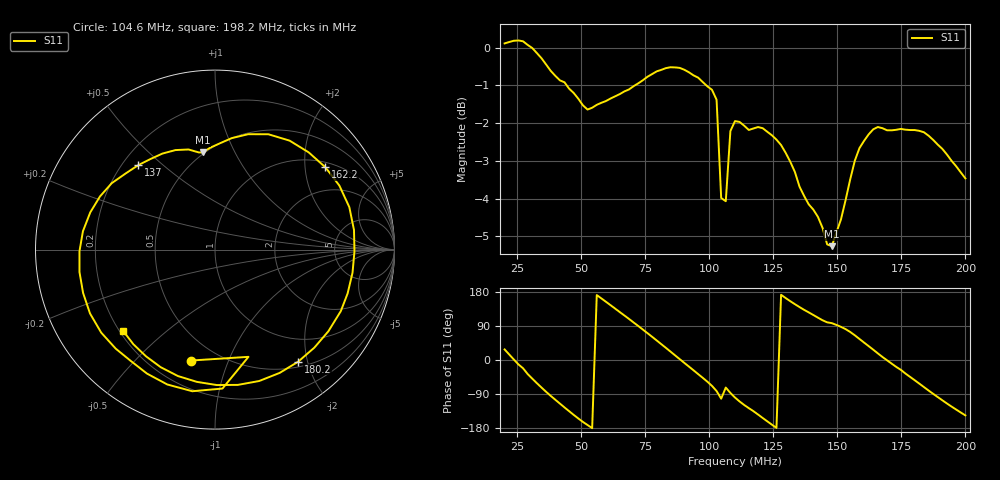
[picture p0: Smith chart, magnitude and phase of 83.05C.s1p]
# HZ S RI R 50
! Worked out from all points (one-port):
!   101 points, 20 MHz to 200 MHz, reference 50 ohm
!   lowest |S11| = -5.3 dB at 147.8 MHz (marker M1), VSWR 3.40, Z = 24.5 + j37.7 ohm
!   |S11| at or under -10 dB: nowhere
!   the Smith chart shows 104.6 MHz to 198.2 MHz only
!   S11 on the Smith chart (normalised r, x): 104.6 MHz: 0.36, -0.74; 137 MHz: 0.26, +0.42; 162.2 MHz: 1.15, +2.56; 180.2 MHz: 0.58, -1.84; 198.2 MHz: 0.21, -0.36
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2e7  0.8954 0.4733
2.72e7  0.9467 -0.3781
3.26e7  0.4745 -0.8614
3.8e7  -0.0741 -0.9286
4.34e7  -0.5183 -0.7352
5.42e7  -0.8323 -0.00198
6.5e7  -0.5149 0.6986
7.58e7  0.2994 0.8644
8.3e7  0.7959 0.4988
8.84e7  0.9393 0.0372
9.38e7  0.8173 -0.4196
9.92e7  0.4815 -0.7467
1.028e8  0.1203 -0.8445
1.046e8  -0.1322 -0.618
1.064e8  0.1865 -0.5975
1.1e8  -0.1261 -0.7892
1.226e8  -0.7349 -0.2415
1.334e8  -0.5754 0.3701
1.37e8  -0.4285 0.4701
1.478e8  -0.0689 0.5413
1.55e8  0.1848 0.643
1.622e8  0.6155 0.4583
1.694e8  0.777 -0.0109
1.784e8  0.5538 -0.5459
1.802e8  0.4634 -0.6244
1.874e8  0.0101 -0.7546
1.982e8  -0.5126 -0.452
2e8  -0.5574 -0.3735
